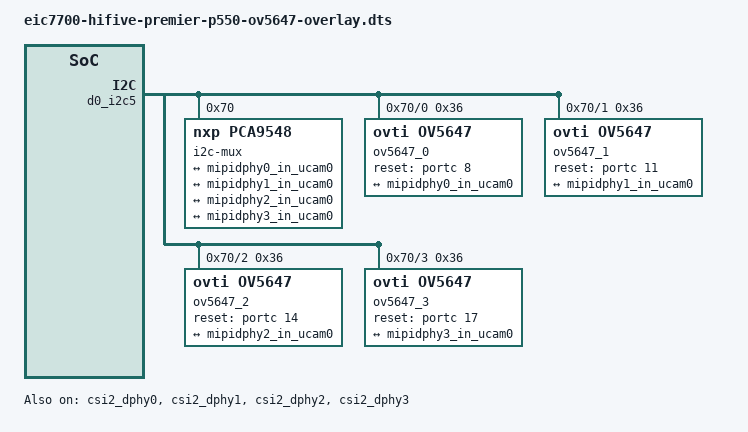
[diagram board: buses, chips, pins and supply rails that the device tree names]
/dts-v1/;
/plugin/;

/ {
	fragment@0 {
		target =  <&vi_subsys>;
		__overlay__ {
			phy_mode = <5>;
		};
	};

	fragment@1 {
		target =  <&imx219_0>;
		__overlay__ {
			status = "disabled";
		};
	};

	fragment@2 {
		target =  <&imx219_1>;
		__overlay__ {
			status = "disabled";
		};
	};

	fragment@3 {
		target =  <&imx219_2>;
		__overlay__ {
			status = "disabled";
		};
	};

	fragment@4 {
		target =  <&imx219_3>;
		__overlay__ {
			status = "disabled";
		};
	};


	fragment@5 { 
		target = <&mipidphy0_in_ucam0>;
		__overlay__ {
			remote-endpoint = <&ov5647_out0>;
			data-lanes = <1 2>;
		};
	};

	fragment@6 {
		target = <&mipidphy2_in_ucam0>;
		__overlay__ {
			remote-endpoint = <&ov5647_out1>;
			data-lanes = <1 2>;
		};
	};

	fragment@7 {
		target = <&mipidphy2_in_ucam0>;
		__overlay__ {
			remote-endpoint = <&ov5647_out2>;
			data-lanes = <1 2>;
		};
	};

	fragment@8 {
		target = <&mipidphy2_in_ucam0>;
		__overlay__ {
			remote-endpoint = <&ov5647_out3>;
			data-lanes = <1 2>;
		};
	};

	fragment@9 {
		target = <&csi2_dphy0>;
		__overlay__ {
			status = "okay";
		};
	};

	fragment@10 {
		target = <&csi2_dphy1>;
		__overlay__ {
			status = "okay";
		};
	};

	fragment@11 {
		target = <&csi2_dphy2>;
		__overlay__ {
			status = "okay";
		};
	};

	fragment@12 {
		target = <&csi2_dphy3>;
		__overlay__ {
			status = "okay";
		};
	};

	fragment@13 {
		target =  <&d0_i2c5>;
		__overlay__ {
			i2c-mux@70 {
				/*compatible = "ti,tca9548"; */
				compatible = "nxp,pca9548";
				#address-cells = <1>;
				#size-cells = <0>;
				reg = <0x70>;
				i2c@0 {
					#address-cells = <1>;
					#size-cells = <0>;
					reg = <0x0>;

					ov5647_0: ov5647_0@36 {
						status = "okay";
						compatible = "ovti,ov5647";
						reg = <0x36>;
						clocks = <&d0_clock 0x244>;
						assigned-clocks = <&d0_clock 0x244>;
						assigned-clock-rates = <25000000>;
						clock-names = "xclk";
						pinctrl-names = "default";
						pinctrl-0 = <&pinctrl_gpio72_default>;
						reset-gpio = <&portc 8 0>;

						port {
							ov5647_out0: endpoint {
								remote-endpoint = <&mipidphy0_in_ucam0>;
								data-lanes = <1 2>;
								link-frequencies = /bits/ 64 <218500000>;
							};
						};
					};
				};

				i2c@1 {
					#address-cells = <1>;
					#size-cells = <0>;
					reg = <0x1>;

					ov5647_1: ov5647_1@36 {
						status = "okay";
						compatible = "ovti,ov5647";
						reg = <0x36>;

						clocks = <&d0_clock 0x244>;
						assigned-clocks = <&d0_clock 0x244>;
						assigned-clock-rates = <25000000>;
						clock-names = "xclk";
						pinctrl-names = "default";
						pinctrl-0 = <&pinctrl_gpio75_default>;
						reset-gpio = <&portc 11 0>;

						port {
							ov5647_out1: endpoint {
								remote-endpoint = <&mipidphy1_in_ucam0>;
								data-lanes = <1 2>;
								link-frequencies = /bits/ 64 <218500000>;
							};
						};
					};
				};

				i2c@2 {
					#address-cells = <1>;
					#size-cells = <0>;
					reg = <0x2>;

					ov5647_2: ov5647_2@36 {
						status = "okay";
						compatible = "ovti,ov5647";
						reg = <0x36>;

						clocks = <&d0_clock 0x244>;
						assigned-clocks = <&d0_clock 0x244>;
						assigned-clock-rates = <25000000>;
						clock-names = "xclk";
						pinctrl-names = "default";
						pinctrl-0 = <&pinctrl_gpio78_default>;
						reset-gpio = <&portc 14 0>;

						port {
							ov5647_out2: endpoint {
								remote-endpoint = <&mipidphy2_in_ucam0>;
								data-lanes = <1 2>;
								link-frequencies = /bits/ 64 <218500000>;
							};
						};
					};
				};
				
				i2c@3 {
					#address-cells = <1>;
					#size-cells = <0>;
					reg = <0x3>;

					ov5647_3: ov5647_3@36 {
						status = "okay";
						compatible = "ovti,ov5647";
						reg = <0x36>;

						clocks = <&d0_clock 0x244>;
						assigned-clocks = <&d0_clock 0x244>;
						assigned-clock-rates = <25000000>;
						clock-names = "xclk";
						pinctrl-names = "default";
						pinctrl-0 = <&pinctrl_gpio81_default>;
						reset-gpio = <&portc 17 0>;

						port {
							ov5647_out3: endpoint {
								remote-endpoint = <&mipidphy3_in_ucam0>;
								data-lanes = <1 2>;
								link-frequencies = /bits/ 64 <218500000>;
							};
						};
					};
				};
			};
		};
	};
};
